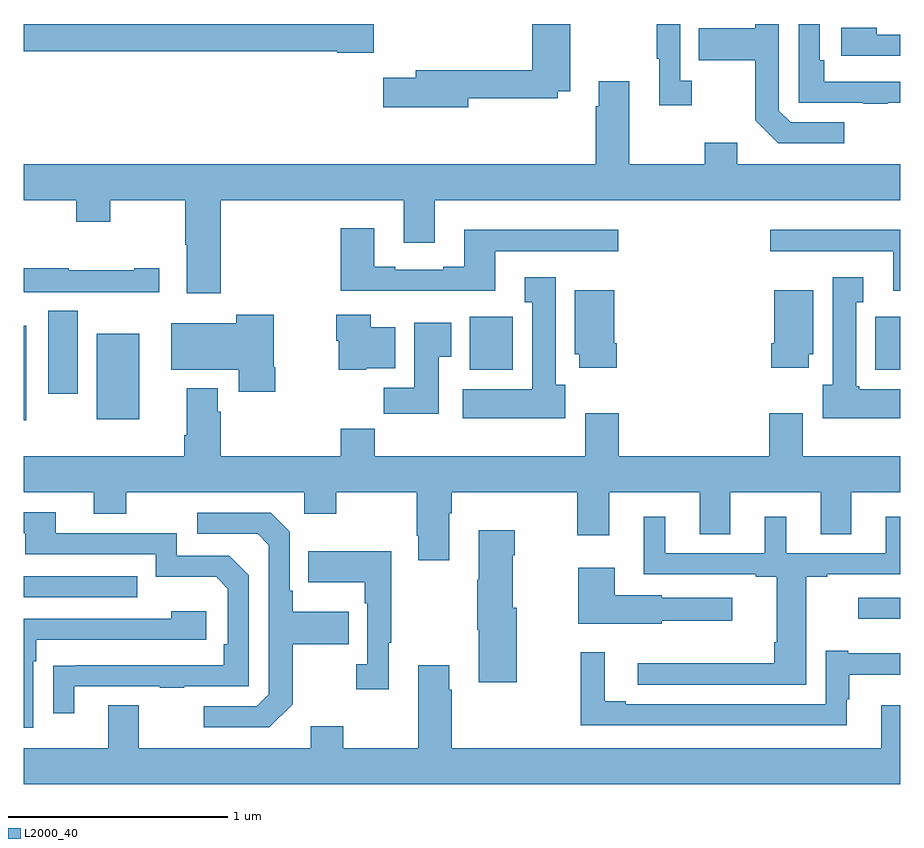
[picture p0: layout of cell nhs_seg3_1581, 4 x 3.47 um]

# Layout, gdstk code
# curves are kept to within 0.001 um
import gdstk
lib = gdstk.Library(unit=1e-6, precision=1e-09)
def R(c, l, rs):  # rectangles x0, y0, x1, y1
    for r in rs: c.add(gdstk.rectangle(r[:2], r[2:], *l))
def P(c, l, *ps):  # polygons
    for p in ps: c.add(gdstk.Polygon(p, *l))
L2000_40 = (2000, 40)

nhs_seg3_1581 = lib.new_cell('nhs_seg3_1581')
R(nhs_seg3_1581, L2000_40, [(196.809,685.685,197,685.782), (193,685.785,193.517,685.881), (193,686.592,193.012,687.022), (193.334,686.597,193.528,686.986), (193.112,686.712,193.246,687.092), (195.035,686.822,195.232,687.064), (196.886,686.822,197,687.064)])
P(nhs_seg3_1581, L2000_40, [(196.048,688.142),(195.996,688.142),(195.996,688.4),(195.888,688.4),(195.888,688.241),(195.899,688.241),(195.899,688.029),(196.048,688.029)],
  [(194.597,688.4),(193,688.4),(193,688.276),(194.43,688.276),(194.43,688.268),(194.597,688.268)],
  [(196.744,687.951),(196.5,687.951),(196.446,688.005),(196.446,688.4),(196.338,688.4),(196.338,688.381),(196.081,688.381),(196.081,688.234),(196.338,688.234),(196.338,687.961),(196.443,687.855),(196.744,687.855)],
  [(196.943,688.041),(197,688.041),(197,688.137),(196.652,688.137),(196.652,688.234),(196.632,688.234),(196.632,688.4),(196.536,688.4),(196.536,688.041),(196.831,688.041),(196.831,688.036),(196.943,688.036)],
  [(195.028,688.062),(195.438,688.062),(195.438,688.094),(195.495,688.094),(195.495,688.4),(195.32,688.4),(195.32,688.19),(194.789,688.19),(194.789,688.154),(194.64,688.154),(194.64,688.019),(195.028,688.019)],
  [(197,688.35),(196.892,688.35),(196.892,688.384),(196.731,688.384),(196.731,688.254),(197,688.254)],
  [(193.898,687.596),(194.735,687.596),(194.735,687.402),(194.875,687.402),(194.875,687.596),(197,687.596),(197,687.76),(196.255,687.76),(196.255,687.859),(196.108,687.859),(196.108,687.76),(195.763,687.76),(195.763,688.138),(195.623,688.138),(195.623,688.025),(195.611,688.025),(195.611,687.76),(193,687.76),(193,687.596),(193.24,687.596),(193.24,687.497),(193.395,687.497),(193.395,687.596),(193.738,687.596),(193.738,687.392),(193.745,687.392),(193.745,687.171),(193.898,687.171)],
  [(195.151,687.363),(195.712,687.363),(195.712,687.46),(195.011,687.46),(195.011,687.292),(194.915,687.292),(194.915,687.279),(194.695,687.279),(194.695,687.292),(194.599,687.292),(194.599,687.469),(194.447,687.469),(194.447,687.182),(195.151,687.182)],
  [(197,687.46),(196.407,687.46),(196.407,687.363),(196.967,687.363),(196.967,687.182),(197,687.182)],
  [(193.008,687.177),(193.342,687.177),(193.342,687.176),(193.618,687.176),(193.618,687.286),(193.505,687.286),(193.505,687.276),(193.205,687.276),(193.205,687.286),(193,687.286),(193,687.176),(193.008,687.176)],
  [(195.472,686.754),(195.427,686.754),(195.427,687.244),(195.287,687.244),(195.287,687.131),(195.32,687.131),(195.32,686.734),(195.003,686.734),(195.003,686.6),(195.472,686.6)],
  [(197,686.734),(196.812,686.734),(196.812,686.748),(196.798,686.748),(196.798,687.131),(196.831,687.131),(196.831,687.244),(196.691,687.244),(196.691,686.754),(196.646,686.754),(196.646,686.6),(197,686.6)],
  [(195.707,686.944),(195.694,686.944),(195.694,687.184),(195.515,687.184),(195.515,686.892),(195.536,686.892),(195.536,686.832),(195.707,686.832)],
  [(196.582,686.892),(196.603,686.892),(196.603,687.184),(196.424,687.184),(196.424,686.944),(196.412,686.944),(196.412,686.832),(196.582,686.832)],
  [(194.148,686.833),(194.14,686.833),(194.14,687.073),(193.97,687.073),(193.97,687.034),(193.673,687.034),(193.673,686.822),(193.982,686.822),(193.982,686.721),(194.148,686.721)],
  [(194.562,686.828),(194.695,686.828),(194.695,687.016),(194.584,687.016),(194.584,687.073),(194.426,687.073),(194.426,686.955),(194.437,686.955),(194.437,686.822),(194.562,686.822)],
  [(194.893,686.881),(194.95,686.881),(194.95,687.037),(194.783,687.037),(194.783,686.74),(194.644,686.74),(194.644,686.622),(194.893,686.622)],
  [(194.941,686.168),(194.954,686.168),(194.954,686.264),(195.526,686.264),(195.526,686.067),(195.673,686.067),(195.673,686.264),(196.085,686.264),(196.085,686.071),(196.225,686.071),(196.225,686.264),(196.637,686.264),(196.637,686.071),(196.777,686.071),(196.777,686.264),(197,686.264),(197,686.428),(196.555,686.428),(196.555,686.623),(196.403,686.623),(196.403,686.428),(195.716,686.428),(195.716,686.623),(195.563,686.623),(195.563,686.428),(194.603,686.428),(194.603,686.552),(194.447,686.552),(194.447,686.428),(193.898,686.428),(193.898,686.63),(193.885,686.63),(193.885,686.737),(193.745,686.737),(193.745,686.524),(193.733,686.524),(193.733,686.428),(193,686.428),(193,686.264),(193.319,686.264),(193.319,686.165),(193.467,686.165),(193.467,686.264),(194.28,686.264),(194.28,686.165),(194.427,686.165),(194.427,686.264),(194.794,686.264),(194.794,686.065),(194.801,686.065),(194.801,685.953),(194.941,685.953)],
  [(193.231,685.377),(193.621,685.377),(193.621,685.372),(193.733,685.372),(193.733,685.377),(194.028,685.377),(194.028,685.884),(193.938,685.974),(193.698,685.974),(193.698,686.076),(193.147,686.076),(193.147,686.172),(193,686.172),(193,686.076),(193.007,686.076),(193.007,685.98),(193.602,685.98),(193.602,685.877),(193.879,685.877),(193.932,685.824),(193.932,685.57),(193.912,685.57),(193.912,685.473),(193.135,685.472),(193.135,685.254),(193.231,685.254)],
  [(194.227,685.297),(194.227,685.57),(194.483,685.57),(194.483,685.717),(194.227,685.717),(194.227,685.813),(194.214,685.813),(194.214,686.082),(194.127,686.169),(193.791,686.169),(193.791,686.073),(194.067,686.073),(194.118,686.022),(194.118,685.341),(194.064,685.287),(193.821,685.287),(193.821,685.191),(194.121,685.191)],
  [(196.57,685.878),(196.666,685.878),(196.666,685.89),(197,685.89),(197,686.152),(196.934,686.152),(196.934,685.986),(196.48,685.986),(196.48,686.152),(196.382,686.152),(196.382,685.986),(195.928,685.986),(195.928,686.152),(195.83,686.152),(195.83,685.89),(196.34,685.89),(196.34,685.878),(196.436,685.878),(196.436,685.579),(196.424,685.579),(196.424,685.484),(195.801,685.484),(195.801,685.386),(196.57,685.386)],
  [(195.25,685.737),(195.232,685.737),(195.232,685.976),(195.24,685.976),(195.24,686.089),(195.077,686.089),(195.077,685.865),(195.07,685.865),(195.07,685.637),(195.077,685.637),(195.077,685.397),(195.25,685.397)],
  [(194.665,685.577),(194.677,685.577),(194.677,685.993),(194.299,685.993),(194.299,685.853),(194.556,685.853),(194.556,685.757),(194.568,685.757),(194.568,685.478),(194.517,685.478),(194.517,685.365),(194.665,685.365)],
  [(195.912,685.676),(196.234,685.676),(196.234,685.783),(195.912,685.783),(195.912,685.794),(195.697,685.794),(195.697,685.918),(195.53,685.918),(195.53,685.664),(195.912,685.664)],
  [(193.044,685.493),(193.057,685.493),(193.057,685.59),(193.834,685.59),(193.834,685.72),(193.673,685.72),(193.673,685.686),(193,685.686),(193,685.188),(193.044,685.188)],
  [(196.756,685.319),(196.768,685.319),(196.768,685.43),(197,685.43),(197,685.528),(196.762,685.528),(196.762,685.54),(196.659,685.54),(196.659,685.296),(195.748,685.296),(195.748,685.309),(195.652,685.309),(195.652,685.534),(195.543,685.534),(195.543,685.2),(196.756,685.2)],
  [(197,685.291),(196.913,685.291),(196.913,685.096),(194.954,685.096),(194.954,685.361),(194.941,685.361),(194.941,685.474),(194.801,685.474),(194.801,685.096),(194.457,685.096),(194.457,685.195),(194.309,685.195),(194.309,685.096),(193.525,685.096),(193.525,685.291),(193.385,685.291),(193.385,685.096),(193,685.096),(193,684.932),(197,684.932)])

lib.write_gds('nhs_seg3_1581.gds')
